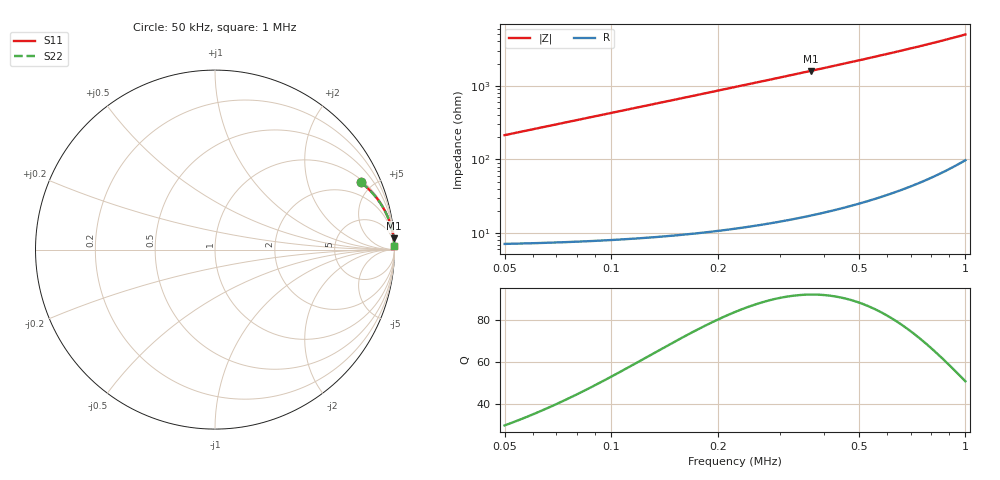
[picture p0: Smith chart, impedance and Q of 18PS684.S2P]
! Coilcraft 1812PS-684 Power Chip Inductor
! 1 October 2002
# MHZ S MA R 50
!Freq  MagS11  AngS11  MagS21  AngS21  MagS12  AngS12  MagS22  AngS22
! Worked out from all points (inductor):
!   476 points, 50 kHz to 1 MHz, reference 50 ohm
!   read as one part in series: L = 681 uH near 54 kHz
!   highest Q = 92.2 at 366 kHz (marker M1), where L = 693 uH
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0.05  0.8945 24.7  0.4183 -63.4  0.4183 -63.4  0.8945 24.7
0.054  0.9074 23.1  0.3929 -65.1  0.3929 -65.1  0.9074 23.1
0.064  0.9312 19.9  0.3402 -68.6  0.3402 -68.6  0.9312 19.9
0.07  0.9415 18.3  0.3145 -70.2  0.3145 -70.2  0.9415 18.3
0.078  0.9519 16.6  0.2853 -72.1  0.2853 -72.1  0.9519 16.6
0.096  0.9673 13.6  0.2355 -75.3  0.2355 -75.3  0.9673 13.6
0.116  0.9771 11.3  0.1968 -77.7  0.1968 -77.7  0.9771 11.3
0.136  0.9831 9.7  0.1687 -79.4  0.1687 -79.4  0.9831 9.7
0.158  0.9873 8.4  0.1457 -80.8  0.1457 -80.8  0.9873 8.4
0.182  0.9903 7.3  0.1267 -82.0  0.1267 -82.0  0.9903 7.3
0.21  0.9926 6.3  0.1099 -83.0  0.1099 -83.0  0.9926 6.3
0.244  0.9944 5.4  0.09458 -83.9  0.09458 -83.9  0.9944 5.4
0.28  0.9957 4.7  0.0823 -84.6  0.0823 -84.6  0.9957 4.7
0.322  0.9967 4.1  0.07137 -85.3  0.07137 -85.3  0.9967 4.1
0.366  0.9974 3.6  0.06256 -85.8  0.06256 -85.8  0.9974 3.6
0.368  0.9974 3.6  0.06221 -85.8  0.06221 -85.8  0.9974 3.6
0.442  0.9981 2.9  0.05138 -86.4  0.05138 -86.4  0.9981 2.9
0.526  0.9986 2.4  0.04269 -86.9  0.04269 -86.9  0.9986 2.4
0.602  0.9989 2.1  0.03683 -87.2  0.03683 -87.2  0.9989 2.1
0.684  0.9991 1.8  0.03191 -87.4  0.03191 -87.4  0.9991 1.8
0.842  0.9993 1.4  0.02498 -87.7  0.02498 -87.7  0.9993 1.4
1  0.9994 1.1  0.02007 -87.7  0.02007 -87.7  0.9994 1.1
